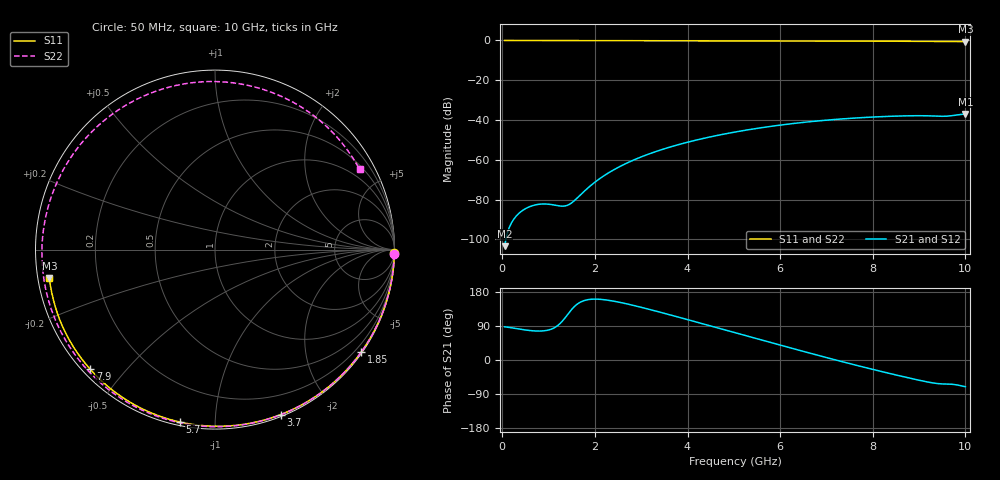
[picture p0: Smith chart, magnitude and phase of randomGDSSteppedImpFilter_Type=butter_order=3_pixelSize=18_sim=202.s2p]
! freq	dB(S11)	phase(S11)	dB(S12)	phase(S12)
!  dB(S21)	phase(S21)	dB(S22)	phase(S22)
!S-par simulation data
#  GHz  S  DB  R 50
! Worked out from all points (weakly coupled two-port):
!   200 points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, 50 MHz to 10 GHz, reference 50 ohm
!   highest |S21| = -37.01 dB at 10 GHz (marker M1); lowest = -103.5 dB at 50 MHz (marker M2)
!   lowest |S11| = -0.6 dB at 10 GHz (marker M3), VSWR 30.49, Z = 1.65 - j4.24 ohm
!   |S11| at or under -10 dB: nowhere
!   |S22| runs from -0.7 to 0.0 dB; largest |S21 - S12| = 0
!   S11 on the Smith chart (normalised r, x): 50 MHz: open; 1.85 GHz: 0.03, -3.16; 3.7 GHz: 0.02, -1.47; 5.7 GHz: 0.02, -0.82; 7.9 GHz: 0.02, -0.40; 10 GHz: 0.03, -0.08
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0.05  -0.00 -1.0  -103.46 87.6  -103.46 87.6  -0.00 -1.6
0.75  -0.02 -14.4  -82.55 76.4  -82.55 76.4  -0.03 -22.9
1.55  -0.04 -29.5  -80.68 140.2  -80.68 140.2  -0.06 -46.8
1.6  -0.04 -30.5  -79.63 145.7  -79.63 145.7  -0.06 -48.3
1.75  -0.04 -33.3  -76.28 156.0  -76.28 156.0  -0.07 -52.7
1.85  -0.04 -35.1  -74.16 159.2  -74.16 159.2  -0.07 -55.6
2.15  -0.05 -40.7  -68.74 159.7  -68.74 159.7  -0.08 -64.3
2.5  -0.06 -47.1  -63.86 153.1  -63.86 153.1  -0.09 -74.4
3.4  -0.08 -63.1  -55.21 126.4  -55.21 126.4  -0.13 -99.8
3.7  -0.09 -68.3  -53.07 116.6  -53.07 116.6  -0.14 -108.2
4.35  -0.11 -79.4  -49.22 94.9  -49.22 94.9  -0.18 -126.3
5.05  -0.14 -91.0  -45.95 71.3  -45.95 71.3  -0.22 -146.1
5.7  -0.17 -101.6  -43.52 49.4  -43.52 49.4  -0.27 -165.2
6.2  -0.20 -109.5  -41.99 32.7  -41.99 32.7  -0.32 179.4
6.7  -0.23 -117.4  -40.73 16.2  -40.73 16.2  -0.37 163.2
7.3  -0.27 -126.8  -39.52 -3.2  -39.52 -3.2  -0.43 142.2
7.9  -0.33 -136.2  -38.63 -21.8  -38.63 -21.8  -0.49 119.5
8.35  -0.37 -143.3  -38.16 -35.1  -38.16 -35.1  -0.54 101.2
8.75  -0.41 -149.7  -37.90 -46.5  -37.90 -46.5  -0.59 84.2
9.15  -0.46 -156.2  -37.88 -57.2  -37.88 -57.2  -0.63 66.6
9.6  -0.52 -163.6  -38.08 -63.4  -38.08 -63.4  -0.67 46.6
10  -0.57 -170.3  -37.01 -70.6  -37.01 -70.6  -0.71 29.0
